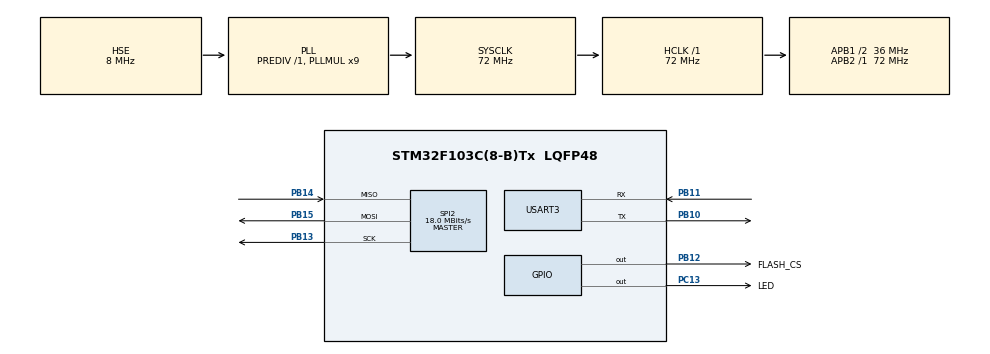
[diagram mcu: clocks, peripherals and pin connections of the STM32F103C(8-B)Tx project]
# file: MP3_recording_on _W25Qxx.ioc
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Mcu.Family=STM32F1
Mcu.Name=STM32F103C(8-B)Tx
Mcu.Package=LQFP48
NVIC.PriorityGroup=NVIC_PRIORITYGROUP_4
NVIC.TIM4_IRQn=true\:15\:0\:false\:false\:true\:false\:true\:true
NVIC.TimeBase=TIM4_IRQn
NVIC.TimeBaseIP=TIM4
PA13.Mode=Serial_Wire
PA13.Signal=SYS_JTMS-SWDIO
PA14.Mode=Serial_Wire
PA14.Signal=SYS_JTCK-SWCLK
PB10.Mode=Asynchronous
PB10.Signal=USART3_TX
PB11.Mode=Asynchronous
PB11.Signal=USART3_RX
PB12.GPIO_Label=FLASH_CS
PB12.PinState=GPIO_PIN_SET
PB12.Signal=GPIO_Output
PB13.Mode=Full_Duplex_Master
PB13.Signal=SPI2_SCK
PB14.Mode=Full_Duplex_Master
PB14.Signal=SPI2_MISO
PB15.Mode=Full_Duplex_Master
PB15.Signal=SPI2_MOSI
PC13-TAMPER-RTC.GPIO_Label=LED
PC13-TAMPER-RTC.Signal=GPIO_Output
PD0-OSC_IN.Mode=HSE-External-Oscillator
PD0-OSC_IN.Signal=RCC_OSC_IN
PD1-OSC_OUT.Mode=HSE-External-Oscillator
PD1-OSC_OUT.Signal=RCC_OSC_OUT
ProjectManager.HeapSize=0x200
ProjectManager.StackSize=0x400
ProjectManager.TargetToolchain=STM32CubeIDE
RCC.AHBFreq_Value=72000000
RCC.APB1CLKDivider=RCC_HCLK_DIV2
RCC.APB1Freq_Value=36000000
RCC.APB1TimFreq_Value=72000000
RCC.APB2Freq_Value=72000000
RCC.APB2TimFreq_Value=72000000
RCC.HCLKFreq_Value=72000000
RCC.PLLMUL=RCC_PLL_MUL9
RCC.PLLSourceVirtual=RCC_PLLSOURCE_HSE
RCC.SYSCLKFreq_VALUE=72000000
RCC.SYSCLKSource=RCC_SYSCLKSOURCE_PLLCLK
RCC.USBFreq_Value=72000000
SPI2.CalculateBaudRate=18.0 MBits/s
SPI2.Direction=SPI_DIRECTION_2LINES
SPI2.Mode=SPI_MODE_MASTER
SPI2.VirtualType=VM_MASTER
USART3.VirtualMode=VM_ASYNC
VP_SYS_VS_tim4.Mode=TIM4
board=custom

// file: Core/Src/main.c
/* USER CODE BEGIN Header */
/**
 ******************************************************************************
 * @file           : main.c
 * @brief          : Main program body
 ******************************************************************************
 * @attention
 *
 * Copyright (c) 2022 STMicroelectronics.
 * All rights reserved.
 *
 * This software is licensed under terms that can be found in the LICENSE file
 * in the root directory of this software component.
 * If no LICENSE file comes with this software, it is provided AS-IS.
 *MP3_recording_on _W25Qxx.ioc
 ******************************************************************************
 */
/* USER CODE END Header */
#include "main.h"

/* USER CODE BEGIN Includes */
#include <stdio.h>/* для printf */
#include "stdbool.h"
#include <w25qxx.h>
#include <string.h>
#define SIZE 524        // Укажи размер немного больще получаемых данных, для /0!
#define pagesize 256    // Укажи размер страницы
char MainBuf[SIZE] = { 0, };
char Rx_data[SIZE] = { 0, };

/* USER CODE END Includes */

SPI_HandleTypeDef hspi2;

UART_HandleTypeDef huart3;

void SystemClock_Config(void);
static void MX_GPIO_Init(void);
static void MX_SPI2_Init(void);
static void MX_USART3_UART_Init(void);
/* USER CODE BEGIN PFP */
int _write(int file, char *ptr, int len) {
	int i;
	HAL_UART_Transmit(&huart3, (uint8_t*) ptr, len, 50);
	for (i = 0; i < len; i++) {
		ITM_SendChar(*ptr++);
	}
	return len;
}
/* USER CODE END PFP */

/* USER CODE BEGIN 0 */
int z, a, n, j, x, y, flag = 0;

void printCharArray(char *arr, size_t len) {
	for (size_t i = 0; i < len; ++i) {
		printf("%c, ", arr[i]);
	}
	printf("\n");
}

void W25Qxxx() {
	///////////////////////////////////// ИНИЦИАЛИЗАЦИЯ ФЛЕШКИ ////////////////////////////////
	W25qxx_Init();
	///////////////////////////////////// ОЧИСТКА ВСЕЙ ФЛЕШКИ ////////////////////////////////
	W25qxx_EraseChip();
	///////////////////////////////////// ОЧИСТКА БЛОКА ////////////////////////////////
//	  W25qxx_EraseBlock(0); // 65536 байт
	///////////////////////////////////// ОЧИСТКА СЕКТОРА ////////////////////////////////
	//W25qxx_EraseSector(0); // 4096 байт
	///////////////////////////////////// ЗАПИСЬ ПОБАЙТНО ////////////////////////////////
//	  uint8_t b0 = 's';
//	  uint8_t b1 = 't';
//	  uint8_t b2 = 'D';
//
//	  W25qxx_WriteByte(b0, 25);
//	  W25qxx_WriteByte(b1, 26);
//	  W25qxx_WriteByte(b2, 27);
	///////////////////////////////////// ЧТЕНИЕ ПОБАЙТНО ////////////////////////////////
//	  uint8_t buf[64] = {0,};
//
//	  W25qxx_ReadByte(&buf[0], 25);
//	  W25qxx_ReadByte(&buf[1], 26);
//	  W25qxx_ReadByte(&buf[2], 27);
	///////////////////////////////////// ЗАПИСЬ СТРАНИЦЫ ////////////////////////////////
//	  uint8_t w_buf[] = "Hello world!";
//	  W25qxx_WritePage(w_buf, 0, 0, 12);
	///////////////////////////////////// ЧТЕНИЕ СТРАНИЦЫ ////////////////////////////////
//	  uint8_t buf[256] = {0,}; // это буфер в который запишутся данные
//	  W25qxx_ReadPage(buf, 0, 0, 12);
	///////////////////////////////////// ЗАПИСЬ СЕКТОРА ////////////////////////////////
//	  W25qxx_WriteSector(w_buf, 0, 1350, 10);
	///////////////////////////////////// ЧТЕНИЕ СЕКТОРА ////////////////////////////////
//	  memset(buf, 0, 64);
//	  W25qxx_ReadSector(buf, 0, 1350, 10);
	///////////////////////////////////// ЗАПИСЬ БЛОКА ////////////////////////////////
//	  W25qxx_WriteBlock(w_buf, 0, 9350, 10);
	///////////////////////////////////// ЧТЕНИЕ БЛОКА ////////////////////////////////
//	  memset(buf, 0, 64);
//	  W25qxx_ReadBlock(buf, 0, 9350, 10);
	/////////////////////////////////// ЧТЕНИЕ ЛЮБОГО КОЛИЧЕСТВА БАЙТ /////////////////
//	  memset(buf, 0, 64);
//	  W25qxx_ReadBytes(buf, 9350, 10);
	/////////////////////////////////// СТЁРТА ЛИ СТРАНИЦА /////////////////////
//	  uint8_t clear = W25qxx_IsEmptyPage(0, 40);
	/////////////////////////////////// СТЁРТ ЛИ СЕКТОР //////////////////////
//	  clear = W25qxx_IsEmptySector(0, 1360);
	/////////////////////////////////// СТЁРТ ЛИ БЛОК ////////////////////////
//	  clear = W25qxx_IsEmptyBlock(0, 9360);
}
/* USER CODE END 0 */

int main(void) {

	/* MCU Configuration--------------------------------------------------------*/

	/* Reset of all peripherals, Initializes the Flash interface and the Systick. */
	HAL_Init();

	/* Configure the system clock */
	SystemClock_Config();

	/* Initialize all configured peripherals */
	MX_GPIO_Init();
	MX_SPI2_Init();
	MX_USART3_UART_Init();
	/* USER CODE BEGIN 2 */

//	char page[SIZE] = { 0, };
	/* USER CODE END 2 */

	/* Infinite loop */
	while (1) {

		/* USER CODE BEGIN 3 */
		HAL_UART_Receive(&huart3, (uint8_t*) Rx_data, SIZE, 1000); // Слушаем UART

		if (strlen((char*) Rx_data) != 0) { // Если есть данные то
			memcpy(MainBuf, Rx_data, SIZE); // Записываем Rx_data в переменную MainBuf
			printf("MainBuf - %s\r\n", (char*) MainBuf);
			memset(Rx_data, 0, SIZE); /* To empty a Rx_data array*/
			char w_buf[pagesize] = { 0, }; // Создали буфер в размер страницы
			W25Qxxx(); /* Инициализация W25Qxxx */
			HAL_Delay(10);
///////////////////////////////////// ЗАПИСЬ СТРАНИЦЫ ////////////////////////////////
			//Calculate length of array
			size_t n = strlen(MainBuf);			// Узнаем размер MainBuf
			printf("size of MainBuf - %d\r\n", n);

			// Computes quotient
			int quotient = (int) n / (int) pagesize; // Узнаем целое количесво PAGE's в массиве
			printf("quotient %d\r\n", quotient);
			// Computes remainder
			int remainder = (int) n % (int) pagesize; // Узнаем остаток от деления PAGE's в массиве
			printf("remainder %d\r\n", remainder);

			for (int q = 0; q < quotient; q++) {
				int i = q * pagesize; // При первом проходе это выражение = 0
				n = pagesize + i;
//				printf("i = %d\r\n", i);
//				printf("n = %d\r\n", n);

				for (z = i, a = 0; z < n, a < pagesize; z++, a++) {
					w_buf[a] = MainBuf[z]; // Copy elements of array into page.
				}
				printf("w_buf - %s\r\n", (char*) w_buf);
				W25qxx_WritePage(w_buf, q, 0, sizeof(w_buf));
				for (j = 0; j < pagesize; j++) { // Очистка w_buf
					w_buf[j] = 0;
//					printf("%d", w_buf[j]);
				}
//				printf("w_buf is cleared!\r\n");
//				printf("\r\n The number of elements in 'w_buf' = %d\r\n", j);
				printf("Page %d is DANE! \r\n", q);
			}

//			printf("remainder = %d\r\n", remainder);
			if (remainder != 0) { // Если остаток не равен нулю
				int i = quotient * pagesize; // При первом проходе это выражение = 0
				int s = i + remainder;
//				printf("i = %d\r\n", i);
//				printf("s = %d\r\n", s);
				for (z = i, a = 0; z < s; z++, a++) {
					w_buf[a] = MainBuf[z]; /* Copy elements of array into last page.*/
				}
				printf("This is the last loop and 'w_buf' has only these elements - %s\r\n", (char*) w_buf);
				W25qxx_WritePage(w_buf, quotient, 0, remainder);
				memset(w_buf, 0, pagesize); /* To empty a char array*/
				printf("Page %d (Last one) is DANE! \r\n", quotient);
				flag = 1;
			}

///////////////////////////////////// ЧТЕНИЕ СТРАНИЦЫ ////////////////////////////////
			if (flag == 1) {
				y = quotient;
				for (x = 0; x <= y; x++) {
//					printf("x = %d\r\n", x);
//					printf("y = %d\r\n", y);
					uint8_t buf[pagesize] = { 0, }; // Это буфер в который запишутся данные
				    W25qxx_ReadPage(buf, x, 0, pagesize);
					printf("Page %d read! \r\n", x);
				}
				flag = 0;
			}
//			uint8_t buf2[pagesize] = { 0, }; // это буфер-2 в который запишутся данные
//			W25qxx_ReadPage(buf2, 1, 0, SIZE);
//
//			uint8_t buf3[pagesize] = { 0, }; // это буфер-3 в который запишутся данные
//			W25qxx_ReadPage(buf3, 2, 0, SIZE);
		}
	}
	/* USER CODE END 3 */
}

void SystemClock_Config(void) {
	RCC_OscInitTypeDef RCC_OscInitStruct = { 0 };
	RCC_ClkInitTypeDef RCC_ClkInitStruct = { 0 };

	/** Initializes the RCC Oscillators according to the specified parameters
	 * in the RCC_OscInitTypeDef structure.
	 */
	RCC_OscInitStruct.OscillatorType = RCC_OSCILLATORTYPE_HSE;
	RCC_OscInitStruct.HSEState = RCC_HSE_ON;
	RCC_OscInitStruct.HSEPredivValue = RCC_HSE_PREDIV_DIV1;
	RCC_OscInitStruct.HSIState = RCC_HSI_ON;
	RCC_OscInitStruct.PLL.PLLState = RCC_PLL_ON;
	RCC_OscInitStruct.PLL.PLLSource = RCC_PLLSOURCE_HSE;
	RCC_OscInitStruct.PLL.PLLMUL = RCC_PLL_MUL9;
	if (HAL_RCC_OscConfig(&RCC_OscInitStruct) != HAL_OK) {
		Error_Handler();
	}

	/** Initializes the CPU, AHB and APB buses clocks
	 */
	RCC_ClkInitStruct.ClockType = RCC_CLOCKTYPE_HCLK | RCC_CLOCKTYPE_SYSCLK
			| RCC_CLOCKTYPE_PCLK1 | RCC_CLOCKTYPE_PCLK2;
	RCC_ClkInitStruct.SYSCLKSource = RCC_SYSCLKSOURCE_PLLCLK;
	RCC_ClkInitStruct.AHBCLKDivider = RCC_SYSCLK_DIV1;
	RCC_ClkInitStruct.APB1CLKDivider = RCC_HCLK_DIV2;
	RCC_ClkInitStruct.APB2CLKDivider = RCC_HCLK_DIV1;

	if (HAL_RCC_ClockConfig(&RCC_ClkInitStruct, FLASH_LATENCY_2) != HAL_OK) {
		Error_Handler();
	}
}

static void MX_SPI2_Init(void) {

	/* SPI2 parameter configuration*/
	hspi2.Instance = SPI2;
	hspi2.Init.Mode = SPI_MODE_MASTER;
	hspi2.Init.Direction = SPI_DIRECTION_2LINES;
	hspi2.Init.DataSize = SPI_DATASIZE_8BIT;
	hspi2.Init.CLKPolarity = SPI_POLARITY_LOW;
	hspi2.Init.CLKPhase = SPI_PHASE_1EDGE;
	hspi2.Init.NSS = SPI_NSS_SOFT;
	hspi2.Init.BaudRatePrescaler = SPI_BAUDRATEPRESCALER_2;
	hspi2.Init.FirstBit = SPI_FIRSTBIT_MSB;
	hspi2.Init.TIMode = SPI_TIMODE_DISABLE;
	hspi2.Init.CRCCalculation = SPI_CRCCALCULATION_DISABLE;
	hspi2.Init.CRCPolynomial = 10;
	if (HAL_SPI_Init(&hspi2) != HAL_OK) {
		Error_Handler();
	}

}

static void MX_USART3_UART_Init(void) {

	huart3.Instance = USART3;
	huart3.Init.BaudRate = 115200;
	huart3.Init.WordLength = UART_WORDLENGTH_8B;
	huart3.Init.StopBits = UART_STOPBITS_1;
	huart3.Init.Parity = UART_PARITY_NONE;
	huart3.Init.Mode = UART_MODE_TX_RX;
	huart3.Init.HwFlowCtl = UART_HWCONTROL_NONE;
	huart3.Init.OverSampling = UART_OVERSAMPLING_16;
	if (HAL_UART_Init(&huart3) != HAL_OK) {
		Error_Handler();
	}

}

static void MX_GPIO_Init(void) {
	GPIO_InitTypeDef GPIO_InitStruct = { 0 };

	/* GPIO Ports Clock Enable */
	__HAL_RCC_GPIOC_CLK_ENABLE();
	__HAL_RCC_GPIOD_CLK_ENABLE();
	__HAL_RCC_GPIOB_CLK_ENABLE();
	__HAL_RCC_GPIOA_CLK_ENABLE();

	/*Configure GPIO pin Output Level */
	HAL_GPIO_WritePin(LED_GPIO_Port, LED_Pin, GPIO_PIN_RESET);

	/*Configure GPIO pin Output Level */
	HAL_GPIO_WritePin(FLASH_CS_GPIO_Port, FLASH_CS_Pin, GPIO_PIN_SET);

	/*Configure GPIO pin : LED_Pin */
	GPIO_InitStruct.Pin = LED_Pin;
	GPIO_InitStruct.Mode = GPIO_MODE_OUTPUT_PP;
	GPIO_InitStruct.Pull = GPIO_NOPULL;
	GPIO_InitStruct.Speed = GPIO_SPEED_FREQ_LOW;
	HAL_GPIO_Init(LED_GPIO_Port, &GPIO_InitStruct);

	/*Configure GPIO pin : FLASH_CS_Pin */
	GPIO_InitStruct.Pin = FLASH_CS_Pin;
	GPIO_InitStruct.Mode = GPIO_MODE_OUTPUT_PP;
	GPIO_InitStruct.Pull = GPIO_NOPULL;
	GPIO_InitStruct.Speed = GPIO_SPEED_FREQ_LOW;
	HAL_GPIO_Init(FLASH_CS_GPIO_Port, &GPIO_InitStruct);

}

void HAL_TIM_PeriodElapsedCallback(TIM_HandleTypeDef *htim) {
	if (htim->Instance == TIM4) {
		HAL_IncTick();
	}
}

void Error_Handler(void) {
	__disable_irq();
	while (1) {
	}
}
